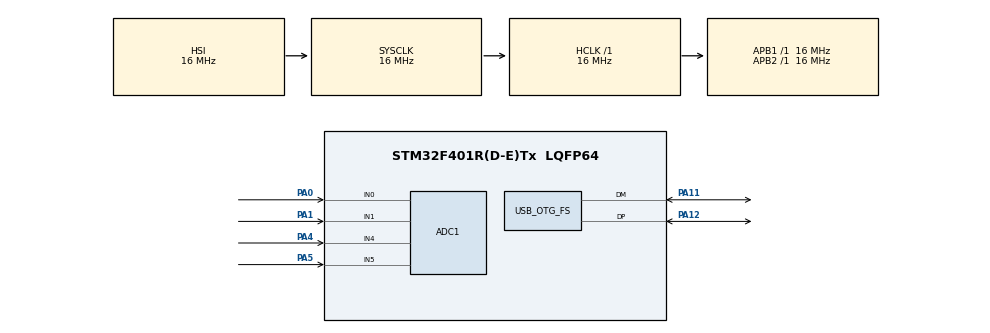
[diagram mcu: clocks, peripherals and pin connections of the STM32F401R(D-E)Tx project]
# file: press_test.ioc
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ADC1.Channel-0\#ChannelRegularConversion=ADC_CHANNEL_0
ADC1.NbrOfConversionFlag=1
ADC1.Rank-0\#ChannelRegularConversion=1
ADC1.SamplingTime-0\#ChannelRegularConversion=ADC_SAMPLETIME_144CYCLES
ADC1.master=1
Dma.ADC1.0.Direction=DMA_PERIPH_TO_MEMORY
Dma.ADC1.0.FIFOMode=DMA_FIFOMODE_DISABLE
Dma.ADC1.0.Instance=DMA2_Stream0
Dma.ADC1.0.MemDataAlignment=DMA_MDATAALIGN_HALFWORD
Dma.ADC1.0.MemInc=DMA_MINC_ENABLE
Dma.ADC1.0.Mode=DMA_NORMAL
Dma.ADC1.0.PeriphDataAlignment=DMA_PDATAALIGN_HALFWORD
Dma.ADC1.0.PeriphInc=DMA_PINC_DISABLE
Dma.ADC1.0.Priority=DMA_PRIORITY_LOW
Dma.Request0=ADC1
Mcu.Family=STM32F4
Mcu.Name=STM32F401R(D-E)Tx
Mcu.Package=LQFP64
NVIC.ADC_IRQn=true\:0\:0\:false\:false\:true\:true\:true\:true
NVIC.DMA2_Stream0_IRQn=true\:0\:0\:false\:false\:true\:false\:true\:true
NVIC.OTG_FS_IRQn=true\:0\:0\:false\:false\:true\:true\:true\:true
NVIC.PriorityGroup=NVIC_PRIORITYGROUP_4
PA0-WKUP.Signal=ADCx_IN0
PA1.Signal=ADCx_IN1
PA11.Mode=Device_Only
PA11.Signal=USB_OTG_FS_DM
PA12.Mode=Device_Only
PA12.Signal=USB_OTG_FS_DP
PA4.Signal=ADCx_IN4
PA5.Signal=ADCx_IN5
ProjectManager.HeapSize=0x200
ProjectManager.StackSize=0x400
ProjectManager.TargetToolchain=STM32CubeIDE
RCC.AHBFreq_Value=16000000
RCC.APB1Freq_Value=16000000
RCC.APB2Freq_Value=16000000
RCC.CortexFreq_Value=16000000
RCC.HSE_VALUE=25000000
RCC.HSI_VALUE=16000000
RCC.LSE_VALUE=32768
RCC.PLLSource=RCC_PLLSOURCE_HSI
RCC.PLLSourceVirtualString=RCC_PLLSOURCE_HSI
RCC.SYSCLKFreq_VALUE=16000000
RCC.VCOOutputFreq_Value=192000000
SH.ADCx_IN0.0=ADC1_IN0,IN0
SH.ADCx_IN1.0=ADC1_IN1,IN1
SH.ADCx_IN4.0=ADC1_IN4,IN4
SH.ADCx_IN5.0=ADC1_IN5,IN5
USB_DEVICE.CLASS_NAME_FS=CDC
USB_DEVICE.VirtualMode-CDC_FS=Cdc
USB_DEVICE.VirtualModeFS=Cdc_FS
USB_OTG_FS.VirtualMode=Device_Only
VP_USB_DEVICE_VS_USB_DEVICE_CDC_FS.Mode=CDC_FS
board=custom

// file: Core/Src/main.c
/* USER CODE BEGIN Header */
/**
  ******************************************************************************
  * @file           : main.c
  * @brief          : Main program body
  ******************************************************************************
  * @attention
  *
  * Copyright (c) 2024 STMicroelectronics.
  * All rights reserved.
  *
  * This software is licensed under terms that can be found in the LICENSE file
  * in the root directory of this software component.
  * If no LICENSE file comes with this software, it is provided AS-IS.
  *
  ******************************************************************************
  */
#include "usbd_cdc_if.h"
/* USER CODE END Header */
#include "main.h"
#include "usb_device.h"

/* USER CODE BEGIN PD */
#define NUM_SENSORS 4
/* USER CODE END PD */

ADC_HandleTypeDef hadc1;
DMA_HandleTypeDef hdma_adc1;

/* USER CODE BEGIN PV */
uint16_t sensorValues[NUM_SENSORS];
uint8_t data_buffer[NUM_SENSORS * 4];
/* USER CODE END PV */

void SystemClock_Config(void);
static void MX_GPIO_Init(void);
static void MX_DMA_Init(void);
static void MX_ADC1_Init(void);
/* USER CODE BEGIN PFP */
void Read_Pressure_Data(void);
/* USER CODE END PFP */

int main(void)
{

  /* MCU Configuration--------------------------------------------------------*/

  /* Reset of all peripherals, Initializes the Flash interface and the Systick. */
  HAL_Init();

  /* Configure the system clock */
  SystemClock_Config();

  /* Initialize all configured peripherals */
  MX_GPIO_Init();
  MX_DMA_Init();
  MX_ADC1_Init();
  MX_USB_DEVICE_Init();

  /* Infinite loop */
  /* USER CODE BEGIN WHILE */
  while (1)
  {
      Read_Pressure_Data();  // 압력 센서 값 읽기

      // sensorValues를 data_buffer에 복사
      for (int i = 0; i < NUM_SENSORS; i++) {
          data_buffer[i * 4]     = (sensorValues[i] >> 24) & 0xFF;
          data_buffer[i * 4 + 1] = (sensorValues[i] >> 16) & 0xFF;
          data_buffer[i * 4 + 2] = (sensorValues[i] >> 8) & 0xFF;
          data_buffer[i * 4 + 3] = sensorValues[i] & 0xFF;
      }

      // CDC 통신으로 전송
      if (CDC_Transmit_FS(data_buffer, sizeof(data_buffer)) == USBD_OK) {
          HAL_Delay(100);  // 데이터 전송 주기
      } else {
          HAL_Delay(10);  // 실패 시 재시도 대기
      }
    /* USER CODE END WHILE */

  }
}

void SystemClock_Config(void)
{
  RCC_OscInitTypeDef RCC_OscInitStruct = {0};
  RCC_ClkInitTypeDef RCC_ClkInitStruct = {0};

  /** Configure the main internal regulator output voltage
  */
  __HAL_RCC_PWR_CLK_ENABLE();
  __HAL_PWR_VOLTAGESCALING_CONFIG(PWR_REGULATOR_VOLTAGE_SCALE2);

  /** Initializes the RCC Oscillators according to the specified parameters
  * in the RCC_OscInitTypeDef structure.
  */
  RCC_OscInitStruct.OscillatorType = RCC_OSCILLATORTYPE_HSI;
  RCC_OscInitStruct.HSIState = RCC_HSI_ON;
  RCC_OscInitStruct.HSICalibrationValue = RCC_HSICALIBRATION_DEFAULT;
  RCC_OscInitStruct.PLL.PLLState = RCC_PLL_ON;
  RCC_OscInitStruct.PLL.PLLSource = RCC_PLLSOURCE_HSI;
  RCC_OscInitStruct.PLL.PLLM = 16;
  RCC_OscInitStruct.PLL.PLLN = 192;
  RCC_OscInitStruct.PLL.PLLP = RCC_PLLP_DIV2;
  RCC_OscInitStruct.PLL.PLLQ = 4;
  if (HAL_RCC_OscConfig(&RCC_OscInitStruct) != HAL_OK)
  {
    Error_Handler();
  }

  /** Initializes the CPU, AHB and APB buses clocks
  */
  RCC_ClkInitStruct.ClockType = RCC_CLOCKTYPE_HCLK|RCC_CLOCKTYPE_SYSCLK
                              |RCC_CLOCKTYPE_PCLK1|RCC_CLOCKTYPE_PCLK2;
  RCC_ClkInitStruct.SYSCLKSource = RCC_SYSCLKSOURCE_HSI;
  RCC_ClkInitStruct.AHBCLKDivider = RCC_SYSCLK_DIV1;
  RCC_ClkInitStruct.APB1CLKDivider = RCC_HCLK_DIV1;
  RCC_ClkInitStruct.APB2CLKDivider = RCC_HCLK_DIV1;

  if (HAL_RCC_ClockConfig(&RCC_ClkInitStruct, FLASH_LATENCY_0) != HAL_OK)
  {
    Error_Handler();
  }
}

static void MX_ADC1_Init(void)
{

  ADC_ChannelConfTypeDef sConfig = {0};

  /** Configure the global features of the ADC (Clock, Resolution, Data Alignment and number of conversion)
  */
  hadc1.Instance = ADC1;
  hadc1.Init.ClockPrescaler = ADC_CLOCK_SYNC_PCLK_DIV2;
  hadc1.Init.Resolution = ADC_RESOLUTION_12B;
  hadc1.Init.ScanConvMode = DISABLE;
  hadc1.Init.ContinuousConvMode = DISABLE;
  hadc1.Init.DiscontinuousConvMode = DISABLE;
  hadc1.Init.ExternalTrigConvEdge = ADC_EXTERNALTRIGCONVEDGE_NONE;
  hadc1.Init.ExternalTrigConv = ADC_SOFTWARE_START;
  hadc1.Init.DataAlign = ADC_DATAALIGN_RIGHT;
  hadc1.Init.NbrOfConversion = 1;
  hadc1.Init.DMAContinuousRequests = DISABLE;
  hadc1.Init.EOCSelection = ADC_EOC_SINGLE_CONV;
  if (HAL_ADC_Init(&hadc1) != HAL_OK)
  {
    Error_Handler();
  }

  /** Configure for the selected ADC regular channel its corresponding rank in the sequencer and its sample time.
  */
  sConfig.Channel = ADC_CHANNEL_0;
  sConfig.Rank = 1;
  sConfig.SamplingTime = ADC_SAMPLETIME_144CYCLES;
  if (HAL_ADC_ConfigChannel(&hadc1, &sConfig) != HAL_OK)
  {
    Error_Handler();
  }

}

static void MX_DMA_Init(void)
{

  /* DMA controller clock enable */
  __HAL_RCC_DMA2_CLK_ENABLE();

  /* DMA interrupt init */
  /* DMA2_Stream0_IRQn interrupt configuration */
  HAL_NVIC_SetPriority(DMA2_Stream0_IRQn, 0, 0);
  HAL_NVIC_EnableIRQ(DMA2_Stream0_IRQn);

}

static void MX_GPIO_Init(void)
{

  /* GPIO Ports Clock Enable */
  __HAL_RCC_GPIOA_CLK_ENABLE();

}

/* USER CODE BEGIN 4 */
void Read_Pressure_Data(void) {
    ADC_ChannelConfTypeDef sConfig = {0};

    for (int i = 0; i < NUM_SENSORS; i++) {
        // ADC 채널을 각 센서 핀에 맞게 설정 (IN0, IN1, IN4, IN5)
        switch(i) {
            case 0: sConfig.Channel = ADC_CHANNEL_0; break; // IN0
            case 1: sConfig.Channel = ADC_CHANNEL_1; break; // IN1
            case 2: sConfig.Channel = ADC_CHANNEL_4; break; // IN4
            case 3: sConfig.Channel = ADC_CHANNEL_5; break; // IN5
        }

        sConfig.Rank = 1;
        sConfig.SamplingTime = ADC_SAMPLETIME_15CYCLES;
        if (HAL_ADC_ConfigChannel(&hadc1, &sConfig) != HAL_OK) {
            Error_Handler();
        }

        if (HAL_ADC_Start(&hadc1) == HAL_OK) {
            if (HAL_ADC_PollForConversion(&hadc1, HAL_MAX_DELAY) == HAL_OK) {

            	sensorValues[i] = HAL_ADC_GetValue(&hadc1);
            } else {
                Error_Handler();
            }
            HAL_ADC_Stop(&hadc1);
        } else {
            Error_Handler();
        }
    }
}
/* USER CODE END 4 */

void Error_Handler(void)
{
  __disable_irq();
  while (1)
  {
  }
}
